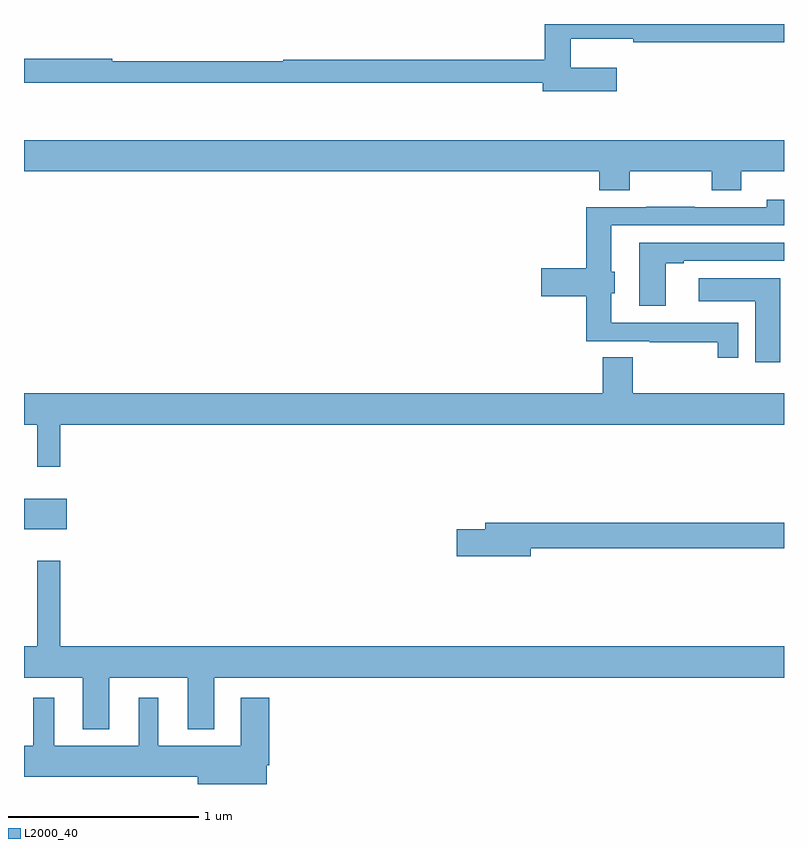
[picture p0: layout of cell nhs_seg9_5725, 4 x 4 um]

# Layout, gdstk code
import gdstk
lib = gdstk.Library(unit=1e-6, precision=1e-09)
def R(c, l, rs):  # rectangles x0, y0, x1, y1
    for r in rs: c.add(gdstk.rectangle(r[:2], r[2:], *l))
def P(c, l, *ps):  # polygons
    for p in ps: c.add(gdstk.Polygon(p, *l))
L2000_40 = (2000, 40)

nhs_seg9_5725 = lib.new_cell('nhs_seg9_5725')
R(nhs_seg9_5725, L2000_40, [(443,1223.84,443.224,1224.001)])
P(nhs_seg9_5725, L2000_40, [(446.119,1226.269),(445.877,1226.269),(445.877,1226.423),(446.206,1226.423),(446.206,1226.404),(447,1226.404),(447,1226.5),(445.741,1226.5),(445.741,1226.311),(444.364,1226.311),(444.364,1226.303),(443.464,1226.303),(443.464,1226.318),(443,1226.318),(443,1226.19),(445.73,1226.19),(445.73,1226.147),(446.119,1226.147)],
  [(446.187,1225.724),(446.62,1225.724),(446.62,1225.625),(446.775,1225.625),(446.775,1225.724),(447,1225.724),(447,1225.888),(443,1225.888),(443,1225.724),(446.027,1225.724),(446.027,1225.625),(446.187,1225.625)],
  [(446.76,1224.927),(446.092,1224.927),(446.092,1225.083),(446.11,1225.083),(446.11,1225.197),(446.092,1225.197),(446.092,1225.44),(447,1225.44),(447,1225.576),(446.909,1225.576),(446.909,1225.536),(446.531,1225.536),(446.531,1225.538),(446.275,1225.538),(446.275,1225.536),(445.958,1225.536),(445.958,1225.214),(445.722,1225.214),(445.722,1225.067),(445.958,1225.067),(445.958,1224.831),(446.293,1224.831),(446.293,1224.826),(446.652,1224.826),(446.652,1224.744),(446.76,1224.744)],
  [(446.377,1225.242),(446.473,1225.242),(446.473,1225.254),(447,1225.254),(447,1225.35),(446.237,1225.35),(446.237,1225.017),(446.377,1225.017)],
  [(446.98,1225.162),(446.55,1225.162),(446.55,1225.04),(446.849,1225.04),(446.849,1224.72),(446.98,1224.72)],
  [(443.191,1224.392),(447,1224.392),(447,1224.556),(446.205,1224.556),(446.205,1224.746),(446.045,1224.746),(446.045,1224.556),(443,1224.556),(443,1224.392),(443.069,1224.392),(443.069,1224.171),(443.191,1224.171)],
  [(445.666,1223.74),(447,1223.74),(447,1223.876),(445.427,1223.876),(445.427,1223.84),(445.278,1223.84),(445.278,1223.698),(445.666,1223.698)],
  [(443.449,1223.06),(443.861,1223.06),(443.861,1222.787),(444.001,1222.787),(444.001,1223.06),(447,1223.06),(447,1223.224),(443.191,1223.224),(443.191,1223.674),(443.069,1223.674),(443.069,1223.224),(443,1223.224),(443,1223.06),(443.309,1223.06),(443.309,1222.787),(443.449,1222.787)],
  [(444.277,1222.598),(444.29,1222.598),(444.29,1222.954),(444.14,1222.954),(444.14,1222.702),(443.707,1222.702),(443.707,1222.954),(443.603,1222.954),(443.603,1222.702),(443.158,1222.702),(443.158,1222.954),(443.048,1222.954),(443.048,1222.702),(443,1222.702),(443,1222.538),(443.915,1222.538),(443.915,1222.5),(444.277,1222.5)])

lib.write_gds('nhs_seg9_5725.gds')
